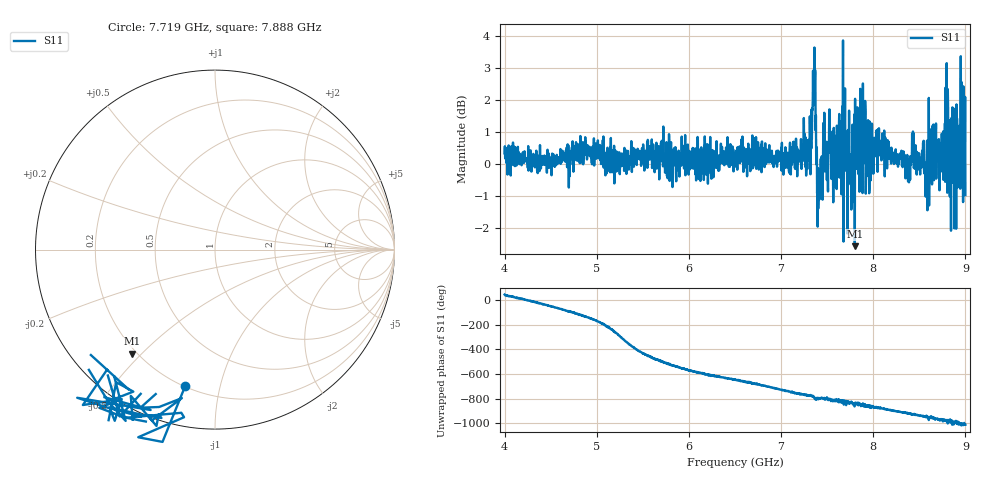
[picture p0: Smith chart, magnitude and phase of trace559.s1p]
! Created with skrf 1.8.0 (http://scikit-rf.org).
# Hz S RI R 50.0
!freq ReS11 ImS11
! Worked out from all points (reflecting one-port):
!   1601 points, 4 GHz to 9 GHz, reference 50 ohm
!   lowest |S11| = -2.6 dB at 7.8 GHz (marker M1), VSWR 6.77, Z = 9.04 - j23.4 ohm
!   phase of S11 starts at 43 deg and turns -1053 deg over the sweep
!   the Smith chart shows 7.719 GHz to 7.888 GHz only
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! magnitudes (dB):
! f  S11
! 4 GHz  0.3
! 4.625 GHz  0.1
! 4.9 GHz  0.6
! 5.25 GHz  -0.3
! 5.572 GHz  0.3
! 5.875 GHz  -0.2
! 6.5 GHz  0.2
! 7.125 GHz  0.1
! 7.294 GHz  0.3
! 7.353 GHz  1.9
! 7.369 GHz  3.0
! 7.412 GHz  -0.3
! 7.481 GHz  -0.1
! 7.578 GHz  0.9
! 7.65 GHz  1.3
! 7.75 GHz  -0.3
! 7.775 GHz  1.2
! 7.8 GHz  -2.6
! 8.05 GHz  1.1
! 8.375 GHz  -0.2
! 8.438 GHz  1.0
! 8.575 GHz  -0.2
! 8.628 GHz  -0.5
! 8.744 GHz  0.9
! 8.803 GHz  -0.9
! 8.906 GHz  -0.1
! 8.972 GHz  0.4
! 9 GHz  -1.0
